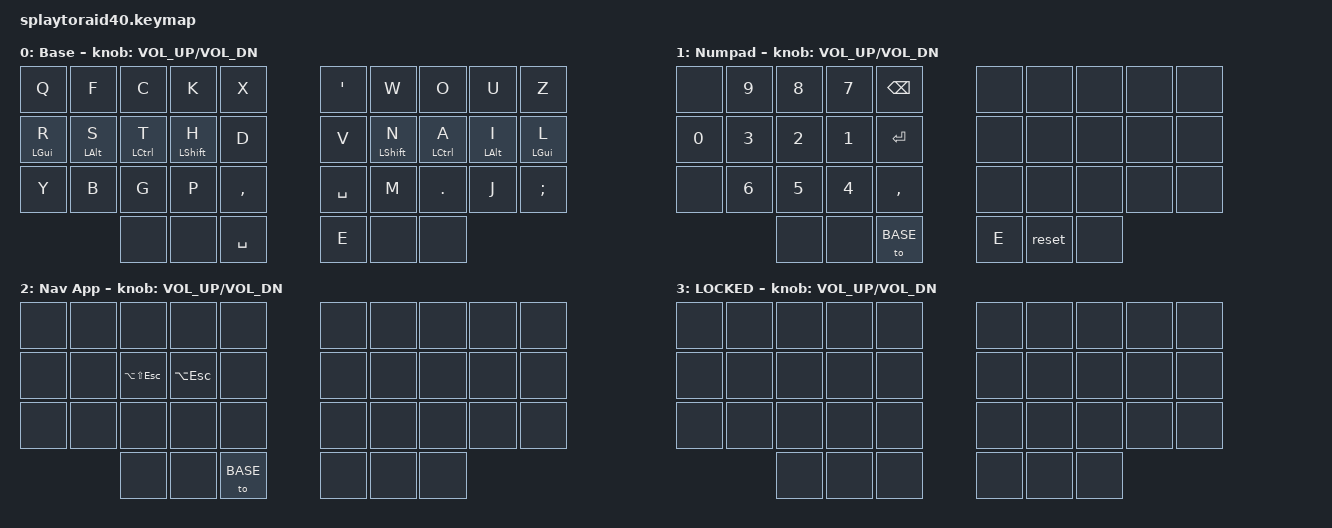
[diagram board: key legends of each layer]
/*
 * Copyright (c) 2021 The ZMK Contributors
 *
 * SPDX-License-Identifier: MIT
 */

#include <behaviors.dtsi>
#include <dt-bindings/zmk/bt.h>
#include <dt-bindings/zmk/ext_power.h>
#include <dt-bindings/zmk/keys.h>
#include <dt-bindings/zmk/outputs.h>
#include <dt-bindings/zmk/rgb.h>

&caps_word {
   continue-list = <LSHIFT UNDERSCORE MINUS BSPC>; 
};

#define BASE   0
#define NUMPAD 1
#define NAV_APP 2

#define LOCKED 3

/ {

    chosen {
        zmk,matrix_transform = &five_column_transform;
    };

 macros {
    
        lambda_arrow: lambda_arrow {
            label = "lambda_arrow";
            compatible = "zmk,behavior-macro";
            #binding-cells = <0>;
            wait-ms = <10>;
            tap-ms = <10>;
            bindings = <&kp MINUS &kp GREATER_THAN>
            ;
        };
        
    };

    //   ╔═════════════════════════════╗    ╔═════════════════════════════╗
    //   ║  0  |  1  |  2  |  3  |  4  ║    ║  5  |  6  |  7  |  8  |  9  ║
    //   ║ 10  | 11  | 12  | 13  | 14  ║    ║ 15  | 16  | 17  | 18  | 19  ║
    //   ║ 20  | 21  | 22  | 23  | 24  ║    ║ 25  | 26  | 27  | 28  | 29  ║
    //   ╚═══════════╗  30  | 31  | 32 ║    ║ 33  | 34  | 35 ╔════════════╝
    //               ╚═════════════════╝    ╚════════════════╝
    
    combos {
        compatible = "zmk,combos"; 

        tog_locked {
            timeout-ms = <50>;
            key-positions = <30 31 34 35>;
	    layers = <BASE LOCKED>;
            bindings = <&tog LOCKED>;
        };
	
        tog_app_nav {
            timeout-ms = <50>;
            key-positions = <20 21>;
            bindings = <&tog NAV_APP>;
        };	

        bootloader {
            timeout-ms = <50>;
            key-positions = <0 1 8 9>;
            bindings = <&bootloader>;
        };

        tog_numpad {
            timeout-ms = <50>;
            key-positions = <23 24>;
            bindings = <&tog NUMPAD>;
        };

        left_shift {
            timeout-ms = <50>;
            key-positions = <13 14>;
            bindings = <&sk LSHIFT>;
        };

        right_shift {
            timeout-ms = <50>;
            key-positions = <15 16>;
            bindings = <&sk LSHIFT>;
        };
 
        combo_lPar {
            timeout-ms = <50>;
            key-positions = <1 2>;
            bindings = <&kp LPAR>;
        };

        combo_lBrace {
            timeout-ms = <50>;
            key-positions = <2 3>;
            bindings = <&kp LEFT_BRACE>;
        };

        combo_arrow {
            timeout-ms = <50>;
            key-positions = <3 4>;
            bindings = <&lambda_arrow>;
        };

        combo_rBrace {
            timeout-ms = <50>;
            key-positions = <6 7>;
            bindings = <&kp RIGHT_BRACE>;
        };
	
        combo_rPar {
            timeout-ms = <50>;
            key-positions = <7 8>;
            bindings = <&kp RPAR>;
        };

        combo_del {
            timeout-ms = <50>;
            key-positions = <8 9>;
            bindings = <&kp DEL>;
        };

        combo_tab {
            timeout-ms = <50>;
            key-positions = <11 12>;
            bindings = <&kp TAB>;
        };
	
	combo_esc {
            timeout-ms = <50>;
            key-positions = <12 13>;
            bindings = <&kp ESC>;
        };
	
        combo_enter {
            timeout-ms = <50>;
            key-positions = <16 17>;
            bindings = <&kp RET>;
        };
 
        combo_ctrl_backspace {
            timeout-ms = <50>;
            key-positions = <16 17 18>;
            bindings = <&kp LC(BSPC)>;
        };

        combo_backspace {
            timeout-ms = <50>;
            key-positions = <17 18>;
            bindings = <&kp BSPC>;
        };
	
	combo_caps_word {
            timeout-ms = <50>;
            key-positions = <13 16>;
            bindings = <&caps_word>;
        };
	
    };

     
    behaviors {        
		hm_shift: homerow_mods {
			compatible = "zmk,behavior-hold-tap";
			label = "HOMEROW_MODS";
			#binding-cells = <2>;
			tapping_term_ms = <125>;
			quick_tap_ms = <200>;
			global-quick-tap;
			flavor = "tap-preferred";
			bindings = <&kp>, <&kp>;
		};
		
		hm_gui: homerow_mods {
			compatible = "zmk,behavior-hold-tap";
			label = "HOMEROW_MODS";
			#binding-cells = <2>;
			tapping_term_ms = <175>;
			quick_tap_ms = <200>;
			global-quick-tap;
			flavor = "tap-preferred";
			bindings = <&kp>, <&kp>;
		};
		
		gqt: global-quick-tap {
		    compatible = "zmk,behavior-hold-tap";
		    label = "GLOBAL_QUICK_TAP";
		    #binding-cells = <2>;
		    flavor = "tap-preferred";
		    tapping-term-ms = <175>;
		    quick-tap-ms = <125>;
		    global-quick-tap;
		    retro-tap;
		    bindings = <&kp>, <&kp>;
		};
		
    };
    
    keymap {
        compatible = "zmk,keymap";

        BASE {
            label = "Base";
            bindings = <
                &kp Q           &kp F        &kp C         &kp K               &kp X             &kp SQT  &kp W                &kp O         &kp U        &kp Z
                &hm_gui LGUI R  &gqt LALT S  &gqt LCTRL T  &hm_shift LSHIFT H  &kp D             &kp V    &hm_shift LSHIFT N   &gqt LCTRL A  &gqt LALT I  &hm_gui LGUI L 
                &kp Y           &kp B        &kp G         &kp P               &kp COMMA         &kp SPC  &kp M                &kp DOT       &kp J        &kp SEMI
                              &none &none  &kp SPACE                   &kp E  &none  &none
            >;
            sensor-bindings = <&inc_dec_kp C_VOL_UP C_VOL_DN>;
        };

        NUMPAD {
            label = "Numpad";
            bindings = <
                &none  &kp N9  &kp N8  &kp N7  &kp BSPC                &none &none &none &none &none  
                &kp N0  &kp N3  &kp N2  &kp N1  &kp RET                &none &none &none &none &none     
                &none  &kp N6  &kp N5  &kp N4  &kp COMMA               &none &none &none &none &none    
                              &none &none  &to BASE            &kp E  &reset  &none
            >;
            sensor-bindings = <&inc_dec_kp C_VOL_UP C_VOL_DN>;
        };

        NAV_APP {
            label = "Nav App";
            bindings = <
                &none  &none  &none            &none        &none                &none &none &none &none &none  
                &none  &none  &kp LA(LS(ESC))  &kp LA(ESC)  &none                &none &none &none &none &none   
                &none  &none  &none            &none        &none                &none &none &none &none &none    
                           &none    &none  &to BASE            &none  &none  &none
            >;
            sensor-bindings = <&inc_dec_kp C_VOL_UP C_VOL_DN>;
        };

        LOCKED {
            label = "LOCKED";
            bindings = <
                &none  &none  &none  &none  &none                &none &none &none &none &none  
                &none  &none  &none  &none  &none                &none &none &none &none &none     
                &none  &none  &none  &none  &none               &none &none &none &none &none    
                            &none   &none  &none            &none  &none  &none
            >;
            sensor-bindings = <&inc_dec_kp C_VOL_UP C_VOL_DN>;
        };

    };
};
